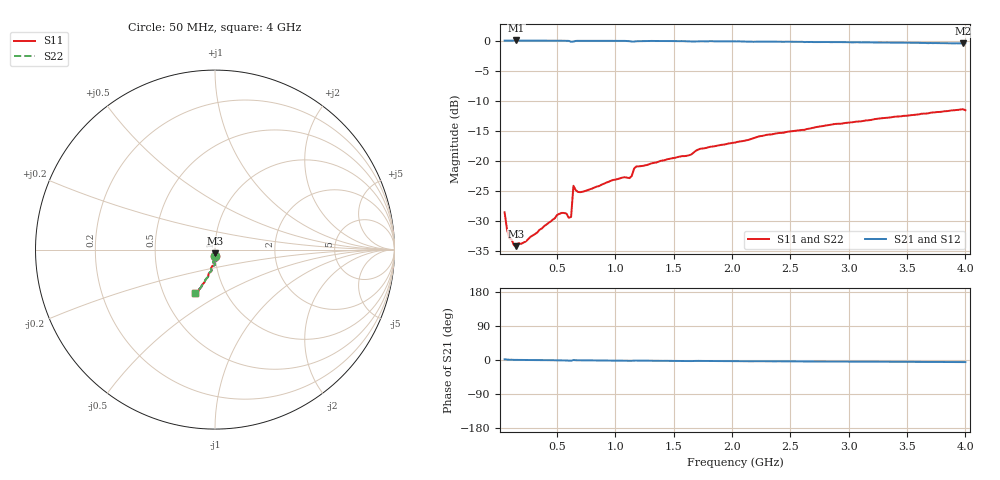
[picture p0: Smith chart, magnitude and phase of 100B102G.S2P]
!  American Technical Ceramics  Date:  3/13/98
!  One Norden Lane
!  Huntington Station,  NY.  11746-2102
!  Tel:  (516) 547-5700  Fax:  (516) 547-5748
!  Part Number  100b102g
!  Description: Porcelain, High Q, Low ESR
!  Application: Bypass, Coupling, Timing, Feedback
!  Tuning, Impedance Match, Blocking
# GHZ S DB R 50
! Freq  |S11|  S11 Ph  |S21|  S21 Ph  |S12|  S12 Ph  |S22|  S22 Ph
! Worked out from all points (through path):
!   201 points, 50 MHz to 4 GHz, reference 50 ohm
!   highest |S21| = 0.01 dB at 150 MHz (marker M1); lowest = -0.5 dB at 3.98 GHz (marker M2)
!   lowest |S11| = -34.1 dB at 150 MHz (marker M3), VSWR 1.04, Z = 49.9 - j1.96 ohm
!   |S11| at or under -10 dB: start of sweep to end of sweep
!   |S22| runs from -34.1 to -11.4 dB; largest |S21 - S12| = 0
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0.05  -28.50 -88.6  -0.01 1.8  -0.01 1.8  -28.50 -88.6
0.07  -31.28 -87.6  -0.03 1.2  -0.03 1.2  -31.28 -87.6
0.09  -32.76 -90.1  -0.01 0.6  -0.01 0.6  -32.76 -90.1
0.15  -34.12 -92.0  0.01 0.3  0.01 0.3  -34.12 -92.0
0.23  -33.35 -91.1  -0.01 0.0  -0.01 0.0  -33.35 -91.1
0.5  -28.95 -94.7  -0.03 -0.8  -0.03 -0.8  -28.95 -94.7
0.56  -28.61 -94.6  -0.04 -1.0  -0.04 -1.0  -28.61 -94.6
0.62  -29.26 -62.4  -0.21 -2.0  -0.21 -2.0  -29.26 -62.4
0.64  -24.10 -81.5  -0.17 -0.1  -0.17 -0.1  -24.10 -81.5
0.68  -25.13 -94.0  -0.05 -0.7  -0.05 -0.7  -25.13 -94.0
0.72  -25.08 -94.9  -0.04 -0.9  -0.04 -0.9  -25.08 -94.9
0.98  -23.14 -98.0  -0.06 -1.7  -0.06 -1.7  -23.14 -98.0
1.12  -22.83 -95.7  -0.11 -2.2  -0.11 -2.2  -22.83 -95.7
1.18  -20.88 -95.2  -0.12 -1.5  -0.12 -1.5  -20.88 -95.2
1.37  -20.10 -100.5  -0.08 -2.1  -0.08 -2.1  -20.10 -100.5
1.63  -19.04 -101.0  -0.14 -2.7  -0.14 -2.7  -19.04 -101.0
1.73  -17.94 -101.3  -0.12 -2.6  -0.12 -2.6  -17.94 -101.3
2.03  -16.91 -104.9  -0.15 -3.0  -0.15 -3.0  -16.91 -104.9
2.7  -14.45 -107.7  -0.26 -3.9  -0.26 -3.9  -14.45 -107.7
3.35  -12.78 -110.8  -0.35 -4.6  -0.35 -4.6  -12.78 -110.8
3.98  -11.40 -113.0  -0.48 -5.6  -0.48 -5.6  -11.40 -113.0
4  -11.56 -114.7  -0.45 -5.6  -0.45 -5.6  -11.56 -114.7
